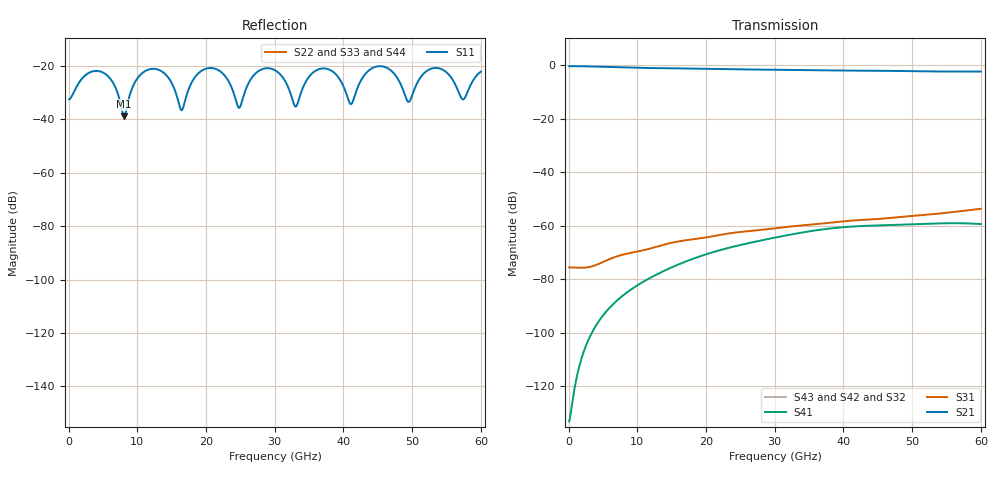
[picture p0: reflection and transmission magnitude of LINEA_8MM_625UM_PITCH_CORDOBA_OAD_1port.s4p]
! TOUCHSTONE file generated by CST MICROWAVE STUDIO
! Date and time: Fri Oct 30 14:48:36 2026
! Project name: LINEA_8MM_625UM_PITCH_CORDOBA_OAD_1port.cst
! Parameters = {CHANNEL_PITCH=0.625; GAP=0.00415; L=8; L1=0.02; L2=0.086; L3=0.066; NCELL=1; PITCH=0.18; START_POSITION=0.13; W1=0.003; W2=0.004; W3=0.009; WG=0.04985; gap_oxr=0.00125; linbo3_thickness=0.0002; mtx=0.002; oxiDinE=0.0014; w=0.185; ws=0.035}
! Header version: 2024
! Port assignment regex: !\s*Touchstone port\s*([0-9]+)\s*=\s*(CST MWS port|CST DES external port|CST DES block port)\s*(.+)\s* \(\"(.*)\"\)(\s*mode\s*([0-9]+))?.*
! Touchstone port assignment:
! Touchstone port 1 = CST MWS port 1 ("")
! Touchstone port 2 = CST MWS port 2 ("")
! Touchstone port 3 = CST MWS port 3 ("")
! Touchstone port 4 = CST MWS port 4 ("")
# GHz S MA R 50
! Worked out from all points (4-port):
!   1000 points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, 60 MHz to 60 GHz, reference 50 ohm
!   strongest paths, dB at 60 MHz, 15.06 GHz, 30.06 GHz, 45.06 GHz, 60 GHz:
!     S21: -0.3, -1.1, -1.6, -2.0, -2.3
!     S31: -75.6, -66.3, -61.0, -57.5, -53.6
!     S41: -133.3, -75.5, -64.4, -59.9, -59.4
!     S43: -, -, -, -, -
!     S42: -, -, -, -, -
!     S32: -, -, -, -, -
!   lowest |S11| = -38.8 dB at 8.04 GHz (marker M1), VSWR 1.02, Z = 48.9 - j0.286 ohm
!   |S11| at or under -10 dB: start of sweep to end of sweep
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0.06  0.02382 -5.6  0 0.0  0 0.0  0 0.0
      0.9712 -1.3  0 0.0  0 0.0  0 0.0
      0.0001656 -3.0  0 0.0  0 0.0  0 0.0
      2.166e-07 4.9  0 0.0  0 0.0  0 0.0
8.04  0.01142 -165.1  0 0.0  0 0.0  0 0.0
      0.9186 -176.2  0 0.0  0 0.0  0 0.0
      0.0002905 -42.8  0 0.0  0 0.0  0 0.0
      5.101e-05 175.2  0 0.0  0 0.0  0 0.0
16.56  0.01545 -150.9  0 0.0  0 0.0  0 0.0
       0.881 1.2  0 0.0  0 0.0  0 0.0
       0.000523 -66.7  0 0.0  0 0.0  0 0.0
       0.000202 -17.0  0 0.0  0 0.0  0 0.0
24.66  0.01715 -177.8  0 0.0  0 0.0  0 0.0
       0.8472 -172.3  0 0.0  0 0.0  0 0.0
       0.0007557 -63.8  0 0.0  0 0.0  0 0.0
       0.0004258 158.1  0 0.0  0 0.0  0 0.0
33.36  0.02068 -135.2  0 0.0  0 0.0  0 0.0
       0.8259 1.5  0 0.0  0 0.0  0 0.0
       0.0009968 -87.7  0 0.0  0 0.0  0 0.0
       0.0007223 -40.4  0 0.0  0 0.0  0 0.0
41.34  0.02146 -135.3  0 0.0  0 0.0  0 0.0
       0.8026 -168.7  0 0.0  0 0.0  0 0.0
       0.001251 -81.4  0 0.0  0 0.0  0 0.0
       0.0009654 130.5  0 0.0  0 0.0  0 0.0
60  0.07844 -126.6  0 0.0  0 0.0  0 0.0
    0.7706 151.7  0 0.0  0 0.0  0 0.0
    0.002079 148.5  0 0.0  0 0.0  0 0.0
    0.001074 47.8  0 0.0  0 0.0  0 0.0
